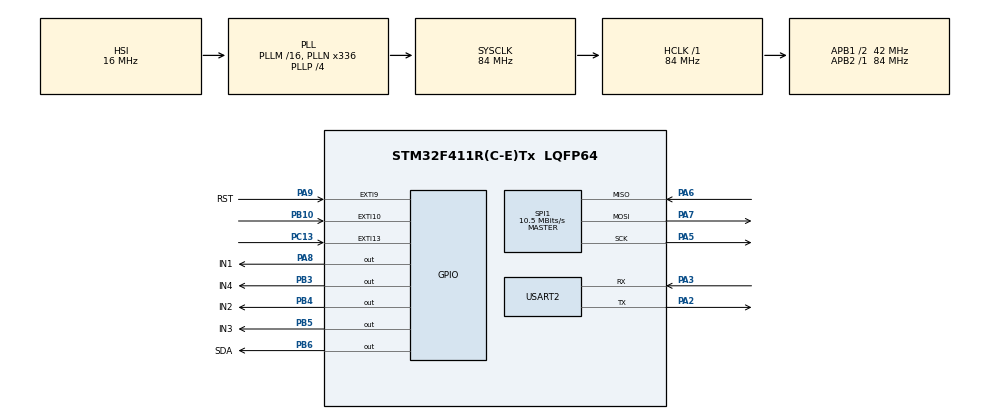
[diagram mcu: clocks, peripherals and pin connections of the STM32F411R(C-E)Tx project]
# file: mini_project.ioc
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FREERTOS.Tasks01=defaultTask,24,512,StartDefaultTask,Default,NULL,Dynamic,NULL,NULL;Motor,8,512,StartTask03,Default,NULL,Dynamic,NULL,NULL;IR,8,512,StartTask04,Default,NULL,Dynamic,NULL,NULL;RC552,8,512,StartTask05,Default,NULL,Dynamic,NULL,NULL
Mcu.Family=STM32F4
Mcu.Name=STM32F411R(C-E)Tx
Mcu.Package=LQFP64
NVIC.EXTI15_10_IRQn=true\:5\:0\:false\:false\:true\:true\:true\:true\:true
NVIC.PriorityGroup=NVIC_PRIORITYGROUP_4
PA13.Mode=Serial_Wire
PA13.Signal=SYS_JTMS-SWDIO
PA14.Mode=Serial_Wire
PA14.Signal=SYS_JTCK-SWCLK
PA2.Mode=Asynchronous
PA2.Signal=USART2_TX
PA3.Mode=Asynchronous
PA3.Signal=USART2_RX
PA5.Mode=Full_Duplex_Master
PA5.Signal=SPI1_SCK
PA6.Mode=Full_Duplex_Master
PA6.Signal=SPI1_MISO
PA7.Mode=Full_Duplex_Master
PA7.Signal=SPI1_MOSI
PA8.GPIO_Label=IN1
PA8.Signal=GPIO_Output
PA9.GPIO_Label=RST
PA9.Signal=GPXTI9
PB10.GPIO_ModeDefaultEXTI=GPIO_MODE_IT_RISING_FALLING
PB10.Signal=GPXTI10
PB3.GPIO_Label=IN4
PB3.Signal=GPIO_Output
PB4.GPIO_Label=IN2
PB4.Signal=GPIO_Output
PB5.GPIO_Label=IN3
PB5.Signal=GPIO_Output
PB6.GPIO_Label=SDA
PB6.Signal=GPIO_Output
PC13-ANTI_TAMP.Signal=GPXTI13
PH0\ -\ OSC_IN.Mode=HSE-External-Oscillator
PH0\ -\ OSC_IN.Signal=RCC_OSC_IN
PH1\ -\ OSC_OUT.Mode=HSE-External-Oscillator
PH1\ -\ OSC_OUT.Signal=RCC_OSC_OUT
ProjectManager.HeapSize=0x200
ProjectManager.StackSize=0x400
ProjectManager.TargetToolchain=STM32CubeIDE
RCC.48MHZClocksFreq_Value=84000000
RCC.AHBFreq_Value=84000000
RCC.APB1CLKDivider=RCC_HCLK_DIV2
RCC.APB1Freq_Value=42000000
RCC.APB1TimFreq_Value=84000000
RCC.APB2Freq_Value=84000000
RCC.APB2TimFreq_Value=84000000
RCC.CortexFreq_Value=84000000
RCC.FLatency-AdvancedSettings=FLASH_LATENCY_2
RCC.HCLKFreq_Value=84000000
RCC.HSE_VALUE=8000000
RCC.HSI_VALUE=16000000
RCC.LSE_VALUE=32768
RCC.PLLN=336
RCC.PLLP=RCC_PLLP_DIV4
RCC.SYSCLKFreq_VALUE=84000000
RCC.SYSCLKSource=RCC_SYSCLKSOURCE_PLLCLK
RCC.VCOOutputFreq_Value=336000000
SPI1.BaudRatePrescaler=SPI_BAUDRATEPRESCALER_8
SPI1.CalculateBaudRate=10.5 MBits/s
SPI1.Direction=SPI_DIRECTION_2LINES
SPI1.Mode=SPI_MODE_MASTER
SPI1.VirtualType=VM_MASTER
TIM2.Prescaler=83
USART2.VirtualMode=VM_ASYNC
VP_FREERTOS_VS_CMSIS_V2.Mode=CMSIS_V2
VP_TIM2_VS_ClockSourceINT.Mode=Internal
board=NUCLEO-F411RE

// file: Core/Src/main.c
/* USER CODE BEGIN Header */
/**
  ******************************************************************************
  * @file           : main.c
  * @brief          : Main program body
  ******************************************************************************
  * @attention
  *
  * Copyright (c) 2025 STMicroelectronics.
  * All rights reserved.
  *
  * This software is licensed under terms that can be found in the LICENSE file
  * in the root directory of this software component.
  * If no LICENSE file comes with this software, it is provided AS-IS.
  *
  ******************************************************************************
  */
/* USER CODE END Header */
#include "main.h"
#include "cmsis_os.h"

/* USER CODE BEGIN Includes */
#include "IR.h"
#include "Core.h"
#include "RC552.h"
#include "Motor.h"
#include "UID_MANAGER.h"
#include "stdio.h"
#include "string.h"

/* USER CODE END Includes */

SPI_HandleTypeDef hspi1;

TIM_HandleTypeDef htim2;

UART_HandleTypeDef huart2;

/* Definitions for defaultTask */
osThreadId_t defaultTaskHandle;
const osThreadAttr_t defaultTask_attributes = {
  .name = "defaultTask",
  .stack_size = 512 * 4,
  .priority = (osPriority_t) osPriorityNormal,
};
/* Definitions for Motor */
osThreadId_t MotorHandle;
const osThreadAttr_t Motor_attributes = {
  .name = "Motor",
  .stack_size = 512 * 4,
  .priority = (osPriority_t) osPriorityLow,
};
/* Definitions for IR */
osThreadId_t IRHandle;
const osThreadAttr_t IR_attributes = {
  .name = "IR",
  .stack_size = 512 * 4,
  .priority = (osPriority_t) osPriorityLow,
};
/* Definitions for RC552 */
osThreadId_t RC552Handle;
const osThreadAttr_t RC552_attributes = {
  .name = "RC552",
  .stack_size = 512 * 4,
  .priority = (osPriority_t) osPriorityLow,
};

void SystemClock_Config(void);
static void MX_GPIO_Init(void);
static void MX_USART2_UART_Init(void);
static void MX_SPI1_Init(void);
static void MX_TIM2_Init(void);
void StartDefaultTask(void *argument);
void StartTask03(void *argument);
void StartTask04(void *argument);
void StartTask05(void *argument);

int main(void)
{

  /* MCU Configuration--------------------------------------------------------*/

  /* Reset of all peripherals, Initializes the Flash interface and the Systick. */
  HAL_Init();

  /* Configure the system clock */
  SystemClock_Config();

  /* Initialize all configured peripherals */
  MX_GPIO_Init();
  MX_USART2_UART_Init();
  MX_SPI1_Init();
  MX_TIM2_Init();
  /* USER CODE BEGIN 2 */
  core_init();

  /* USER CODE END 2 */

  /* Init scheduler */
  osKernelInitialize();

  /* Create the thread(s) */
  /* creation of defaultTask */
  defaultTaskHandle = osThreadNew(StartDefaultTask, NULL, &defaultTask_attributes);

  /* creation of Motor */
  MotorHandle = osThreadNew(StartTask03, NULL, &Motor_attributes);

  /* creation of IR */
  IRHandle = osThreadNew(StartTask04, NULL, &IR_attributes);

  /* creation of RC552 */
  RC552Handle = osThreadNew(StartTask05, NULL, &RC552_attributes);

  /* Start scheduler */
  osKernelStart();

  /* We should never get here as control is now taken by the scheduler */

  /* Infinite loop */
  while (1)
  {

  }
}

void SystemClock_Config(void)
{
  RCC_OscInitTypeDef RCC_OscInitStruct = {0};
  RCC_ClkInitTypeDef RCC_ClkInitStruct = {0};

  /** Configure the main internal regulator output voltage
  */
  __HAL_RCC_PWR_CLK_ENABLE();
  __HAL_PWR_VOLTAGESCALING_CONFIG(PWR_REGULATOR_VOLTAGE_SCALE1);

  /** Initializes the RCC Oscillators according to the specified parameters
  * in the RCC_OscInitTypeDef structure.
  */
  RCC_OscInitStruct.OscillatorType = RCC_OSCILLATORTYPE_HSI;
  RCC_OscInitStruct.HSIState = RCC_HSI_ON;
  RCC_OscInitStruct.HSICalibrationValue = RCC_HSICALIBRATION_DEFAULT;
  RCC_OscInitStruct.PLL.PLLState = RCC_PLL_ON;
  RCC_OscInitStruct.PLL.PLLSource = RCC_PLLSOURCE_HSI;
  RCC_OscInitStruct.PLL.PLLM = 16;
  RCC_OscInitStruct.PLL.PLLN = 336;
  RCC_OscInitStruct.PLL.PLLP = RCC_PLLP_DIV4;
  RCC_OscInitStruct.PLL.PLLQ = 4;
  if (HAL_RCC_OscConfig(&RCC_OscInitStruct) != HAL_OK)
  {
    Error_Handler();
  }

  /** Initializes the CPU, AHB and APB buses clocks
  */
  RCC_ClkInitStruct.ClockType = RCC_CLOCKTYPE_HCLK|RCC_CLOCKTYPE_SYSCLK
                              |RCC_CLOCKTYPE_PCLK1|RCC_CLOCKTYPE_PCLK2;
  RCC_ClkInitStruct.SYSCLKSource = RCC_SYSCLKSOURCE_PLLCLK;
  RCC_ClkInitStruct.AHBCLKDivider = RCC_SYSCLK_DIV1;
  RCC_ClkInitStruct.APB1CLKDivider = RCC_HCLK_DIV2;
  RCC_ClkInitStruct.APB2CLKDivider = RCC_HCLK_DIV1;

  if (HAL_RCC_ClockConfig(&RCC_ClkInitStruct, FLASH_LATENCY_2) != HAL_OK)
  {
    Error_Handler();
  }
}

static void MX_SPI1_Init(void)
{

  /* SPI1 parameter configuration*/
  hspi1.Instance = SPI1;
  hspi1.Init.Mode = SPI_MODE_MASTER;
  hspi1.Init.Direction = SPI_DIRECTION_2LINES;
  hspi1.Init.DataSize = SPI_DATASIZE_8BIT;
  hspi1.Init.CLKPolarity = SPI_POLARITY_LOW;
  hspi1.Init.CLKPhase = SPI_PHASE_1EDGE;
  hspi1.Init.NSS = SPI_NSS_SOFT;
  hspi1.Init.BaudRatePrescaler = SPI_BAUDRATEPRESCALER_8;
  hspi1.Init.FirstBit = SPI_FIRSTBIT_MSB;
  hspi1.Init.TIMode = SPI_TIMODE_DISABLE;
  hspi1.Init.CRCCalculation = SPI_CRCCALCULATION_DISABLE;
  hspi1.Init.CRCPolynomial = 10;
  if (HAL_SPI_Init(&hspi1) != HAL_OK)
  {
    Error_Handler();
  }

}

static void MX_TIM2_Init(void)
{

  TIM_ClockConfigTypeDef sClockSourceConfig = {0};
  TIM_MasterConfigTypeDef sMasterConfig = {0};

  htim2.Instance = TIM2;
  htim2.Init.Prescaler = 83;
  htim2.Init.CounterMode = TIM_COUNTERMODE_UP;
  htim2.Init.Period = 4294967295;
  htim2.Init.ClockDivision = TIM_CLOCKDIVISION_DIV1;
  htim2.Init.AutoReloadPreload = TIM_AUTORELOAD_PRELOAD_DISABLE;
  if (HAL_TIM_Base_Init(&htim2) != HAL_OK)
  {
    Error_Handler();
  }
  sClockSourceConfig.ClockSource = TIM_CLOCKSOURCE_INTERNAL;
  if (HAL_TIM_ConfigClockSource(&htim2, &sClockSourceConfig) != HAL_OK)
  {
    Error_Handler();
  }
  sMasterConfig.MasterOutputTrigger = TIM_TRGO_RESET;
  sMasterConfig.MasterSlaveMode = TIM_MASTERSLAVEMODE_DISABLE;
  if (HAL_TIMEx_MasterConfigSynchronization(&htim2, &sMasterConfig) != HAL_OK)
  {
    Error_Handler();
  }

}

static void MX_USART2_UART_Init(void)
{

  huart2.Instance = USART2;
  huart2.Init.BaudRate = 115200;
  huart2.Init.WordLength = UART_WORDLENGTH_8B;
  huart2.Init.StopBits = UART_STOPBITS_1;
  huart2.Init.Parity = UART_PARITY_NONE;
  huart2.Init.Mode = UART_MODE_TX_RX;
  huart2.Init.HwFlowCtl = UART_HWCONTROL_NONE;
  huart2.Init.OverSampling = UART_OVERSAMPLING_16;
  if (HAL_UART_Init(&huart2) != HAL_OK)
  {
    Error_Handler();
  }

}

static void MX_GPIO_Init(void)
{
  GPIO_InitTypeDef GPIO_InitStruct = {0};

  /* GPIO Ports Clock Enable */
  __HAL_RCC_GPIOC_CLK_ENABLE();
  __HAL_RCC_GPIOH_CLK_ENABLE();
  __HAL_RCC_GPIOA_CLK_ENABLE();
  __HAL_RCC_GPIOB_CLK_ENABLE();

  /*Configure GPIO pin Output Level */
  HAL_GPIO_WritePin(IN1_GPIO_Port, IN1_Pin, GPIO_PIN_RESET);

  /*Configure GPIO pin Output Level */
  HAL_GPIO_WritePin(GPIOB, IN4_Pin|IN2_Pin|IN3_Pin|SDA_Pin, GPIO_PIN_RESET);

  /*Configure GPIO pin : PC13 */
  GPIO_InitStruct.Pin = GPIO_PIN_13;
  GPIO_InitStruct.Mode = GPIO_MODE_IT_RISING;
  GPIO_InitStruct.Pull = GPIO_NOPULL;
  HAL_GPIO_Init(GPIOC, &GPIO_InitStruct);

  /*Configure GPIO pin : PB10 */
  GPIO_InitStruct.Pin = GPIO_PIN_10;
  GPIO_InitStruct.Mode = GPIO_MODE_IT_RISING_FALLING;
  GPIO_InitStruct.Pull = GPIO_NOPULL;
  HAL_GPIO_Init(GPIOB, &GPIO_InitStruct);

  /*Configure GPIO pin : IN1_Pin */
  GPIO_InitStruct.Pin = IN1_Pin;
  GPIO_InitStruct.Mode = GPIO_MODE_OUTPUT_PP;
  GPIO_InitStruct.Pull = GPIO_NOPULL;
  GPIO_InitStruct.Speed = GPIO_SPEED_FREQ_LOW;
  HAL_GPIO_Init(IN1_GPIO_Port, &GPIO_InitStruct);

  /*Configure GPIO pin : RST_Pin */
  GPIO_InitStruct.Pin = RST_Pin;
  GPIO_InitStruct.Mode = GPIO_MODE_IT_RISING;
  GPIO_InitStruct.Pull = GPIO_NOPULL;
  HAL_GPIO_Init(RST_GPIO_Port, &GPIO_InitStruct);

  /*Configure GPIO pins : IN4_Pin IN2_Pin IN3_Pin SDA_Pin */
  GPIO_InitStruct.Pin = IN4_Pin|IN2_Pin|IN3_Pin|SDA_Pin;
  GPIO_InitStruct.Mode = GPIO_MODE_OUTPUT_PP;
  GPIO_InitStruct.Pull = GPIO_NOPULL;
  GPIO_InitStruct.Speed = GPIO_SPEED_FREQ_LOW;
  HAL_GPIO_Init(GPIOB, &GPIO_InitStruct);

  /* EXTI interrupt init*/
  HAL_NVIC_SetPriority(EXTI15_10_IRQn, 5, 0);
  HAL_NVIC_EnableIRQ(EXTI15_10_IRQn);

}

void StartDefaultTask(void *argument)
{
  /* USER CODE BEGIN 5 */
  /* Infinite loop */
HAL_UART_Transmit(&huart2, (uint8_t*)"Start Core\r\n", strlen("Start Core\r\n"), HAL_MAX_DELAY);
  for(;;)
  {
	core_update();
    osDelay(1);
  }
  /* USER CODE END 5 */
}

void StartTask03(void *argument)
{
  /* USER CODE BEGIN StartTask03 */
  /* Infinite loop */
  for(;;)
  {

	Run_Motor();
    osDelay(1);
  }
  /* USER CODE END StartTask03 */
}

void StartTask04(void *argument)
{
  /* USER CODE BEGIN StartTask04 */
  /* Infinite loop */
  for(;;)
  {

	if (isIRKeyReady()) {
		HAL_UART_Transmit(&huart2, (uint8_t*)"KeyReady\r\n", strlen("KeyReady\r\n"), HAL_MAX_DELAY);
		uint8_t cmd = decode();
		Core_PostMsg(RECEIVE_IR_SIG);

  	  }
    osDelay(1);
  }
  /* USER CODE END StartTask04 */
}

void StartTask05(void *argument)
{
  /* USER CODE BEGIN StartTask05 */
	uint8_t status;
	uint8_t str[16];
	uint8_t sNum[5];
	char *msg1 = "Reading From Card\r\n";
	char *msg2 = "Reading From Tag\r\n";
	char *msg3 = "Place card to read\r\n";

  /* Infinite loop */
  for(;;)
  {

	  status = MFRC522_Request(PICC_REQIDL, str);
	  if (status != MI_OK) continue;

	  status = MFRC522_Anticoll(str);
	  if (status != MI_OK) continue;

	  memcpy(sNum, str, 5);

	  char uidMsg[64];
	  sprintf(uidMsg, "UID: %02X %02X %02X %02X %02X\r\n", str[0], str[1], str[2], str[3], str[4]);
	  HAL_UART_Transmit(&huart2, (uint8_t*)uidMsg, strlen(uidMsg), HAL_MAX_DELAY);

	  if (getUIDMgrMode() == 1) {
		  setUIDMgrMode(0);
	      if (UIDManager_DeleteUID(str)) {
	          HAL_UART_Transmit(&huart2, (uint8_t*)"UID deleted successfully\r\n", strlen("UID deleted successfully\r\n"), HAL_MAX_DELAY);

	      }
	      else {
	          HAL_UART_Transmit(&huart2, (uint8_t*)"Failed to delete (UID not found)\r\n", strlen("Failed to delete (UID not found)\r\n"), HAL_MAX_DELAY);
	      }
	  }
	  else if (getUIDMgrMode() == 2){
		  setUIDMgrMode(0);
	      if (!UIDManager_IsRegistered(str)) {
	          UIDManager_SaveUID(str);
	          HAL_UART_Transmit(&huart2, (uint8_t*)"UID registered successfully\r\n", strlen("UID registered successfully\r\n"), HAL_MAX_DELAY);
	      }

	  }
	  else {
		  if (UIDManager_IsRegistered(str)){
			  Core_PostMsg(RFID_LOGIN);
			  HAL_UART_Transmit(&huart2, (uint8_t*)"Login\r\n", strlen("Login\r\n"), HAL_MAX_DELAY);
		  }
		  else  {

			  HAL_UART_Transmit(&huart2, (uint8_t*)"unknown UID!!!!!\r\n", strlen("unknown UID!!!!!\r\n"), HAL_MAX_DELAY);
		  }

	  }

	  osDelay(500);
     }
    osDelay(1);

  /* USER CODE END StartTask05 */
}

void Error_Handler(void)
{
  __disable_irq();
  while (1)
  {
  }
}
